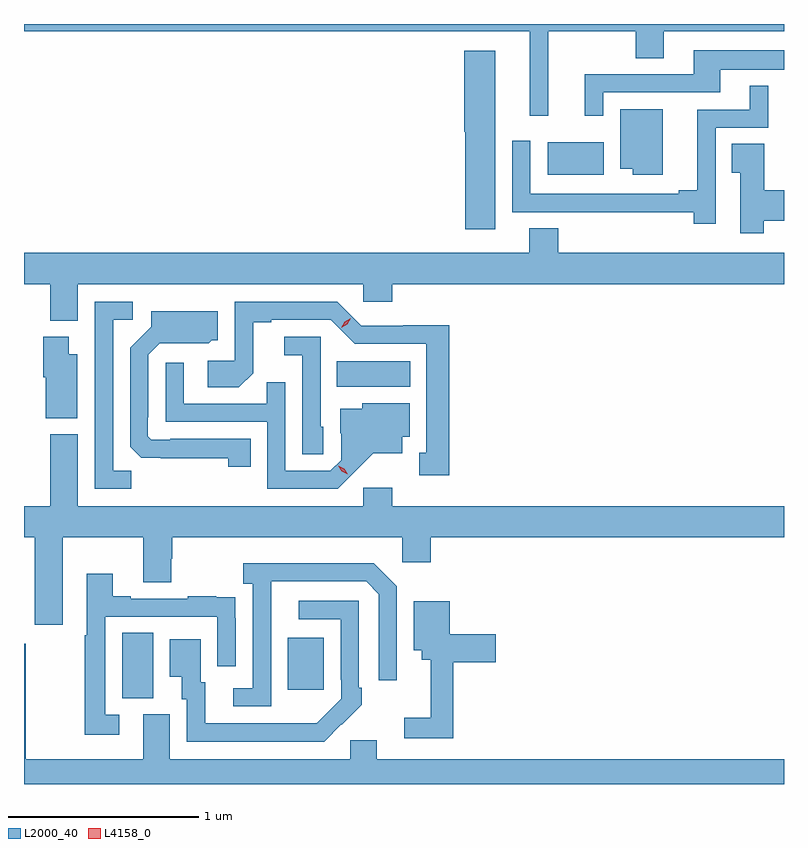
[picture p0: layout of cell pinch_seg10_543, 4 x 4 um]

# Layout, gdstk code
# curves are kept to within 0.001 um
import gdstk
lib = gdstk.Library(unit=1e-6, precision=1e-09)
def R(c, l, rs):  # rectangles x0, y0, x1, y1
    for r in rs: c.add(gdstk.rectangle(r[:2], r[2:], *l))
def P(c, l, *ps):  # polygons
    for p in ps: c.add(gdstk.Polygon(p, *l))
L2000_40 = (2000, 40)
L4158_0 = (4158, 0)

pinch_seg10_543 = lib.new_cell('pinch_seg10_543')
R(pinch_seg10_543, L2000_40, [(309.842,1259.509,310.006,1259.852), (310.715,1259.553,310.903,1259.827), (310.972,1261.148,311.359,1261.282), (312.083,1262.264,312.376,1262.434)])
P(pinch_seg10_543, L2000_40, [(312.086,1263.02),(312.547,1263.02),(312.547,1262.878),(312.694,1262.878),(312.694,1263.02),(313.326,1263.02),(313.326,1263.057),(309.326,1263.057),(309.326,1263.02),(311.987,1263.02),(311.987,1262.574),(312.086,1262.574)],
  [(312.375,1262.697),(312.991,1262.697),(312.991,1262.816),(313.326,1262.816),(313.326,1262.92),(312.851,1262.92),(312.851,1262.793),(312.278,1262.793),(312.278,1262.574),(312.375,1262.574)],
  [(311.806,1262.917),(311.642,1262.917),(311.642,1262.49),(311.648,1262.49),(311.648,1261.977),(311.806,1261.977)],
  [(312.966,1262.511),(313.243,1262.511),(313.243,1262.731),(313.145,1262.731),(313.145,1262.607),(312.869,1262.607),(312.869,1262.183),(312.773,1262.183),(312.773,1262.163),(311.991,1262.163),(311.991,1262.443),(311.895,1262.443),(311.895,1262.067),(312.22,1262.067),(312.22,1262.066),(312.85,1262.066),(312.85,1262.007),(312.966,1262.007)],
  [(312.688,1262.608),(312.464,1262.608),(312.464,1262.294),(312.53,1262.294),(312.53,1262.264),(312.688,1262.264)],
  [(313.219,1262.021),(313.326,1262.021),(313.326,1262.182),(313.222,1262.182),(313.222,1262.426),(313.051,1262.426),(313.051,1262.275),(313.097,1262.275),(313.097,1261.956),(313.219,1261.956)],
  [(309.61,1261.688),(311.112,1261.688),(311.112,1261.595),(311.264,1261.595),(311.264,1261.688),(313.326,1261.688),(313.326,1261.852),(312.137,1261.852),(312.137,1261.982),(311.984,1261.982),(311.984,1261.852),(309.326,1261.852),(309.326,1261.688),(309.463,1261.688),(309.463,1261.496),(309.61,1261.496)],
  [(309.891,1260.707),(309.795,1260.707),(309.795,1261.5),(309.898,1261.5),(309.898,1261.596),(309.699,1261.596),(309.699,1260.612),(309.891,1260.612)],
  [(311.563,1261.472),(311.322,1261.472),(311.322,1261.47),(311.1,1261.47),(310.974,1261.596),(310.434,1261.596),(310.434,1261.284),(310.293,1261.284),(310.293,1261.144),(310.457,1261.144),(310.533,1261.22),(310.533,1261.488),(310.627,1261.488),(310.627,1261.5),(310.941,1261.5),(311.067,1261.374),(311.444,1261.374),(311.444,1260.801),(311.405,1260.801),(311.405,1260.681),(311.563,1260.681)],
  [(310.52,1260.873),(310.096,1260.873),(310.096,1260.87),(309.996,1260.87),(309.978,1260.888),(309.978,1260.988),(309.981,1260.988),(309.981,1261.317),(310.041,1261.377),(310.298,1261.376),(310.314,1261.392),(310.345,1261.392),(310.345,1261.546),(309.995,1261.546),(309.995,1261.464),(309.885,1261.354),(309.885,1260.832),(309.944,1260.773),(310.402,1260.772),(310.402,1260.726),(310.52,1260.726)],
  [(309.607,1261.318),(309.562,1261.318),(309.562,1261.411),(309.428,1261.411),(309.428,1261.197),(309.44,1261.197),(309.44,1260.983),(309.607,1260.983)],
  [(310.902,1260.936),(310.887,1260.936),(310.887,1261.41),(310.695,1261.41),(310.695,1261.313),(310.791,1261.313),(310.791,1260.793),(310.902,1260.793)],
  [(311.062,1260.695),(311.165,1260.797),(311.317,1260.797),(311.317,1260.884),(311.356,1260.884),(311.356,1261.06),(311.106,1261.06),(311.106,1261.033),(310.991,1261.033),(310.991,1260.904),(310.995,1260.904),(310.995,1260.762),(310.938,1260.705),(310.701,1260.705),(310.701,1261.172),(310.603,1261.172),(310.603,1261.059),(310.167,1261.059),(310.167,1261.273),(310.071,1261.273),(310.071,1260.963),(310.605,1260.963),(310.605,1260.612),(310.978,1260.612)],
  [(309.529,1260.356),(309.953,1260.356),(309.953,1260.118),(310.101,1260.118),(310.101,1260.243),(310.106,1260.243),(310.106,1260.356),(311.316,1260.356),(311.316,1260.225),(311.468,1260.225),(311.468,1260.356),(313.326,1260.356),(313.326,1260.52),(311.264,1260.52),(311.264,1260.616),(311.112,1260.616),(311.112,1260.52),(309.61,1260.52),(309.61,1260.898),(309.463,1260.898),(309.463,1260.52),(309.326,1260.52),(309.326,1260.356),(309.382,1260.356),(309.382,1259.895),(309.529,1259.895)],
  [(310.626,1259.923),(310.627,1260.123),(311.127,1260.123),(311.193,1260.057),(311.193,1259.604),(311.289,1259.604),(311.289,1260.099),(311.168,1260.22),(310.479,1260.22),(310.479,1260.11),(310.53,1260.11),(310.53,1259.562),(310.428,1259.562),(310.428,1259.466),(310.626,1259.466)],
  [(309.826,1259.421),(309.753,1259.421),(309.753,1259.937),(310.344,1259.937),(310.344,1259.676),(310.44,1259.676),(310.44,1259.93),(310.439,1259.93),(310.439,1260.039),(310.337,1260.039),(310.337,1260.046),(310.189,1260.046),(310.189,1260.033),(309.889,1260.033),(309.889,1260.046),(309.793,1260.046),(309.793,1260.163),(309.657,1260.163),(309.657,1259.84),(309.645,1259.84),(309.645,1259.316),(309.826,1259.316)],
  [(310.997,1259.371),(310.998,1259.37),(311.103,1259.475),(311.103,1259.563),(311.088,1259.563),(311.088,1260.021),(310.773,1260.021),(310.773,1259.925),(310.992,1259.925),(310.992,1259.605),(310.995,1259.605),(310.995,1259.505),(310.867,1259.377),(310.279,1259.376),(310.279,1259.592),(310.255,1259.592),(310.255,1259.818),(310.094,1259.818),(310.094,1259.621),(310.157,1259.621),(310.157,1259.502),(310.182,1259.502),(310.182,1259.28),(310.906,1259.28)],
  [(311.585,1259.699),(311.809,1259.699),(311.809,1259.846),(311.566,1259.846),(311.566,1260.019),(311.378,1260.019),(311.378,1259.762),(311.42,1259.762),(311.42,1259.711),(311.468,1259.711),(311.468,1259.407),(311.328,1259.407),(311.328,1259.298),(311.585,1259.298)],
  [(313.326,1259.188),(311.182,1259.188),(311.182,1259.286),(311.043,1259.286),(311.043,1259.188),(310.093,1259.188),(310.093,1259.424),(309.953,1259.424),(309.953,1259.188),(309.334,1259.188),(309.334,1259.794),(309.326,1259.794),(309.326,1259.057),(313.326,1259.057)])
P(pinch_seg10_543, L4158_0, [(310.996,1261.459),(310.996,1261.459),(311.014,1261.491),(311.046,1261.509),(311.046,1261.509),(311.046,1261.509),(311.028,1261.477),(310.996,1261.459)],
  [(311.029,1260.687),(310.998,1260.702),(310.98,1260.732),(310.98,1260.732),(310.981,1260.732),(311.012,1260.717),(311.03,1260.687),(311.03,1260.687)])

lib.write_gds('pinch_seg10_543.gds')
